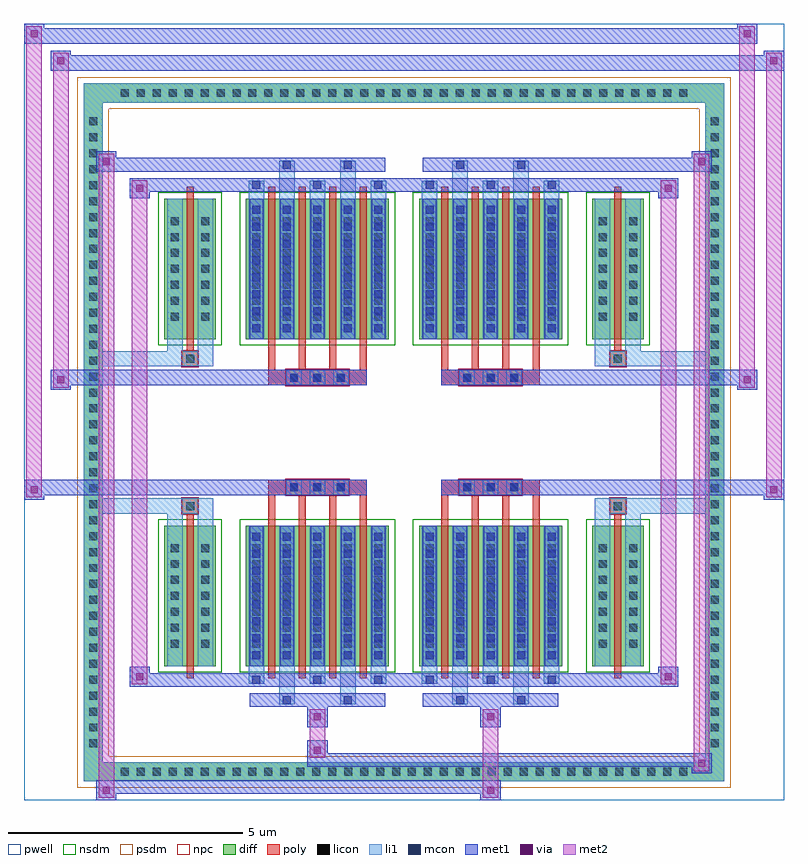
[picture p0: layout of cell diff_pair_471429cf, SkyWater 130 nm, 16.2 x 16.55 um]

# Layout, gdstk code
import gdstk
lib = gdstk.Library(unit=1e-6, precision=5e-09)
def R(c, l, rs):  # rectangles x0, y0, x1, y1
    for r in rs: c.add(gdstk.rectangle(r[:2], r[2:], *l))
def A(c, l, x, y, w, h, nx, ny, dx, dy):  # array of equal rectangles
    R(c, l, [(x+i*dx, y+j*dy, x+i*dx+w, y+j*dy+h) for i in range(nx) for j in range(ny)])
def P(c, l, *ps):  # polygons
    for p in ps: c.add(gdstk.Polygon(p, *l))
pwell = (64, 44)
diff = (65, 20)
poly = (66, 20)
licon = (66, 44)
li1 = (67, 20)
mcon = (67, 44)
met1 = (68, 20)
via = (68, 44)
met2 = (69, 20)
nsdm = (93, 44)
psdm = (94, 20)
npc = (95, 20)

diff_pair_471429cf = lib.new_cell('diff_pair_471429cf')
R(diff_pair_471429cf, pwell, [(-8.1,-7.84,8.1,8.71), (-5.42,-6.03,-0.01,-0.805), (0.01,-6.03,5.42,-0.805), (-5.42,0.805,-0.01,6.03), (0.01,0.805,5.42,6.03)])
A(diff_pair_471429cf, diff, -6.155, -7.44, 0.41, 0.41, 36, 2, 0.34, 14.47)
A(diff_pair_471429cf, diff, -6.83, -6.835, 0.41, 0.41, 1, 40, 0, 0.34)
A(diff_pair_471429cf, diff, 6.42, -6.835, 0.41, 0.41, 1, 40, 0, 0.34)
R(diff_pair_471429cf, diff, [(-6.155,-7.44,6.155,-7.03), (-6.83,-6.835,-6.42,6.835), (6.42,-6.835,6.83,6.835), (-5.11,-4.985,-4.01,-1.985), (-3.37,-4.985,-0.32,-1.985), (0.32,-4.985,3.37,-1.985), (4.01,-4.985,5.11,-1.985), (-5.11,1.985,-4.01,4.985), (-3.37,1.985,-0.32,4.985), (0.32,1.985,3.37,4.985), (4.01,1.985,5.11,4.985), (-6.155,7.03,6.155,7.44)])
P(diff_pair_471429cf, diff, [(6.83,7.44),(-6.83,7.44),(-6.83,-7.03),(-6.42,-7.03),(-6.42,7.03),(6.42,7.03),(6.42,-7.03),(-6.42,-7.03),(-6.83,-7.03),(-6.83,-7.44),(6.83,-7.44)])
A(diff_pair_471429cf, poly, -2.895, -5.235, 0.15, 3.5, 4, 2, 0.65, 6.97)
A(diff_pair_471429cf, poly, 0.795, -5.235, 0.15, 3.5, 4, 2, 0.65, 6.97)
A(diff_pair_471429cf, poly, -2.895, -1.735, 0.15, 0.4, 4, 2, 0.65, 3.07)
A(diff_pair_471429cf, poly, 0.795, -1.735, 0.15, 0.4, 4, 2, 0.65, 3.07)
A(diff_pair_471429cf, poly, -2.51, -1.335, 0.33, 0.33, 3, 2, 0.5, 2.34)
A(diff_pair_471429cf, poly, 1.18, -1.335, 0.33, 0.33, 3, 2, 0.5, 2.34)
R(diff_pair_471429cf, poly, [(-4.635,-5.235,-4.485,-1.735), (4.485,-5.235,4.635,-1.735), (-4.725,-1.735,-4.395,-1.405), (-4.725,-1.735,-4.395,-1.405), (4.395,-1.735,4.725,-1.405), (4.395,-1.735,4.725,-1.405), (-2.895,-1.335,-0.795,-1.005), (0.795,-1.335,2.895,-1.005), (-2.895,1.005,-0.795,1.335), (0.795,1.005,2.895,1.335), (-4.725,1.405,-4.395,1.735), (-4.725,1.405,-4.395,1.735), (4.395,1.405,4.725,1.735), (4.395,1.405,4.725,1.735), (-4.635,1.735,-4.485,5.235), (4.485,1.735,4.635,5.235)])
A(diff_pair_471429cf, licon, -6.035, -7.32, 0.17, 0.17, 36, 2, 0.34, 14.47)
A(diff_pair_471429cf, licon, -6.71, -6.715, 0.17, 0.17, 1, 40, 0, 0.34)
A(diff_pair_471429cf, licon, 6.54, -6.715, 0.17, 0.17, 1, 40, 0, 0.34)
A(diff_pair_471429cf, licon, -4.97, -4.59, 0.17, 0.17, 1, 7, 0, 0.34)
A(diff_pair_471429cf, licon, -4.32, -4.59, 0.17, 0.17, 1, 7, 0, 0.34)
A(diff_pair_471429cf, licon, -3.23, -4.59, 0.17, 0.17, 5, 7, 0.65, 0.34)
A(diff_pair_471429cf, licon, 0.46, -4.59, 0.17, 0.17, 5, 7, 0.65, 0.34)
A(diff_pair_471429cf, licon, 4.15, -4.59, 0.17, 0.17, 1, 7, 0, 0.34)
A(diff_pair_471429cf, licon, 4.8, -4.59, 0.17, 0.17, 1, 7, 0, 0.34)
A(diff_pair_471429cf, licon, -2.43, -1.255, 0.17, 0.17, 3, 2, 0.5, 2.34)
A(diff_pair_471429cf, licon, 1.26, -1.255, 0.17, 0.17, 3, 2, 0.5, 2.34)
A(diff_pair_471429cf, licon, -4.97, 2.38, 0.17, 0.17, 1, 7, 0, 0.34)
A(diff_pair_471429cf, licon, -4.32, 2.38, 0.17, 0.17, 1, 7, 0, 0.34)
A(diff_pair_471429cf, licon, -3.23, 2.38, 0.17, 0.17, 5, 7, 0.65, 0.34)
A(diff_pair_471429cf, licon, 0.46, 2.38, 0.17, 0.17, 5, 7, 0.65, 0.34)
A(diff_pair_471429cf, licon, 4.15, 2.38, 0.17, 0.17, 1, 7, 0, 0.34)
A(diff_pair_471429cf, licon, 4.8, 2.38, 0.17, 0.17, 1, 7, 0, 0.34)
R(diff_pair_471429cf, licon, [(-4.645,-1.655,-4.475,-1.485), (4.475,-1.655,4.645,-1.485), (-4.645,1.485,-4.475,1.655), (4.475,1.485,4.645,1.655)])
A(diff_pair_471429cf, li1, -6.115, -7.4, 0.33, 0.33, 36, 2, 0.34, 14.47)
A(diff_pair_471429cf, li1, -6.79, -6.795, 0.33, 0.33, 1, 40, 0, 0.34)
A(diff_pair_471429cf, li1, 6.46, -6.795, 0.33, 0.33, 1, 40, 0, 0.34)
A(diff_pair_471429cf, li1, -3.31, -5.36, 0.33, 0.375, 3, 2, 1.3, 10.345)
A(diff_pair_471429cf, li1, -3.23, -5.36, 0.17, 0.17, 3, 2, 1.3, 10.55)
A(diff_pair_471429cf, li1, 0.38, -5.36, 0.33, 0.375, 3, 2, 1.3, 10.345)
A(diff_pair_471429cf, li1, 0.46, -5.36, 0.17, 0.17, 3, 2, 1.3, 10.55)
A(diff_pair_471429cf, li1, -3.31, -4.985, 0.33, 3, 5, 2, 0.65, 6.97)
A(diff_pair_471429cf, li1, 0.38, -4.985, 0.33, 3, 5, 2, 0.65, 6.97)
A(diff_pair_471429cf, li1, -3.23, -4.83, 0.17, 0.17, 5, 8, 0.65, 0.36)
A(diff_pair_471429cf, li1, -3.23, -4.83, 0.17, 2.69, 5, 2, 0.65, 6.97)
A(diff_pair_471429cf, li1, 0.46, -4.83, 0.17, 0.17, 5, 8, 0.65, 0.36)
A(diff_pair_471429cf, li1, 0.46, -4.83, 0.17, 2.69, 5, 2, 0.65, 6.97)
A(diff_pair_471429cf, li1, -5.05, -4.67, 0.33, 0.33, 1, 7, 0, 0.34)
A(diff_pair_471429cf, li1, -4.4, -4.67, 0.33, 0.33, 1, 7, 0, 0.34)
A(diff_pair_471429cf, li1, -3.31, -4.67, 0.33, 0.33, 5, 7, 0.65, 0.34)
A(diff_pair_471429cf, li1, 0.38, -4.67, 0.33, 0.33, 5, 7, 0.65, 0.34)
A(diff_pair_471429cf, li1, 4.07, -4.67, 0.33, 0.33, 1, 7, 0, 0.34)
A(diff_pair_471429cf, li1, 4.72, -4.67, 0.33, 0.33, 1, 7, 0, 0.34)
A(diff_pair_471429cf, li1, -2.51, -1.335, 0.33, 0.33, 3, 2, 0.5, 2.34)
A(diff_pair_471429cf, li1, 1.18, -1.335, 0.33, 0.33, 3, 2, 0.5, 2.34)
A(diff_pair_471429cf, li1, -3.23, 2.14, 0.17, 0.17, 5, 8, 0.65, 0.36)
A(diff_pair_471429cf, li1, 0.46, 2.14, 0.17, 0.17, 5, 8, 0.65, 0.36)
A(diff_pair_471429cf, li1, -5.05, 2.3, 0.33, 0.33, 1, 7, 0, 0.34)
A(diff_pair_471429cf, li1, -4.4, 2.3, 0.33, 0.33, 1, 7, 0, 0.34)
A(diff_pair_471429cf, li1, -3.31, 2.3, 0.33, 0.33, 5, 7, 0.65, 0.34)
A(diff_pair_471429cf, li1, 0.38, 2.3, 0.33, 0.33, 5, 7, 0.65, 0.34)
A(diff_pair_471429cf, li1, 4.07, 2.3, 0.33, 0.33, 1, 7, 0, 0.34)
A(diff_pair_471429cf, li1, 4.72, 2.3, 0.33, 0.33, 1, 7, 0, 0.34)
R(diff_pair_471429cf, li1, [(-6.83,-7.44,-6.42,-7.03), (-6.83,-7.44,-6.42,-7.03), (-6.42,-7.44,6.42,-7.03), (6.42,-7.44,6.83,-7.03), (6.42,-7.44,6.83,-7.03), (-6.83,-7.03,-6.42,7.03), (6.42,-7.03,6.83,7.03), (-2.66,-5.79,-2.33,-4.985), (-2.58,-5.79,-2.41,-5.62), (-1.36,-5.79,-1.03,-4.985), (-1.28,-5.79,-1.11,-5.62), (1.03,-5.79,1.36,-4.985), (1.11,-5.79,1.28,-5.62), (2.33,-5.79,2.66,-4.985), (2.41,-5.79,2.58,-5.62), (-5.05,-4.985,-4.72,-1.985), (-4.4,-4.985,-4.07,-1.985), (4.07,-4.985,4.4,-1.985), (4.72,-4.985,5.05,-1.985), (-5.05,-1.985,-4.72,-1.405), (-4.4,-1.985,-4.07,-1.405), (4.07,-1.985,4.4,-1.405), (4.72,-1.985,5.05,-1.405), (-6.83,-1.735,-4.725,-1.405), (-5.05,-1.735,-4.725,-1.405), (-4.725,-1.735,-4.395,-1.405), (-4.395,-1.735,-4.07,-1.405), (4.07,-1.735,4.395,-1.405), (4.395,-1.735,4.725,-1.405), (4.395,-1.735,6.83,-1.405), (4.725,-1.735,5.05,-1.405), (-6.83,1.405,-4.725,1.735), (-5.05,1.405,-4.725,1.735), (-5.05,1.405,-4.72,1.985), (-4.725,1.405,-4.395,1.735), (-4.4,1.405,-4.07,1.985), (-4.395,1.405,-4.07,1.735), (4.07,1.405,4.395,1.735), (4.07,1.405,4.4,1.985), (4.395,1.405,4.725,1.735), (4.395,1.405,6.83,1.735), (4.72,1.405,5.05,1.985), (4.725,1.405,5.05,1.735), (-5.05,1.985,-4.72,4.985), (-4.4,1.985,-4.07,4.985), (4.07,1.985,4.4,4.985), (4.72,1.985,5.05,4.985), (-2.66,4.985,-2.33,5.79), (-1.36,4.985,-1.03,5.79), (1.03,4.985,1.36,5.79), (2.33,4.985,2.66,5.79), (-2.58,5.62,-2.41,5.79), (-1.28,5.62,-1.11,5.79), (1.11,5.62,1.28,5.79), (2.41,5.62,2.58,5.79), (-6.83,7.03,-6.42,7.44), (-6.83,7.03,-6.42,7.44), (-6.42,7.03,6.42,7.44), (6.42,7.03,6.83,7.44), (6.42,7.03,6.83,7.44)])
A(diff_pair_471429cf, mcon, -3.23, -5.36, 0.17, 0.17, 3, 2, 1.3, 10.55)
A(diff_pair_471429cf, mcon, 0.46, -5.36, 0.17, 0.17, 3, 2, 1.3, 10.55)
A(diff_pair_471429cf, mcon, -3.23, -4.83, 0.17, 0.17, 5, 8, 0.65, 0.36)
A(diff_pair_471429cf, mcon, 0.46, -4.83, 0.17, 0.17, 5, 8, 0.65, 0.36)
A(diff_pair_471429cf, mcon, -2.43, -1.255, 0.17, 0.17, 3, 2, 0.5, 2.34)
A(diff_pair_471429cf, mcon, 1.26, -1.255, 0.17, 0.17, 3, 2, 0.5, 2.34)
A(diff_pair_471429cf, mcon, -3.23, 2.14, 0.17, 0.17, 5, 8, 0.65, 0.36)
A(diff_pair_471429cf, mcon, 0.46, 2.14, 0.17, 0.17, 5, 8, 0.65, 0.36)
R(diff_pair_471429cf, mcon, [(-2.58,-5.79,-2.41,-5.62), (-1.28,-5.79,-1.11,-5.62), (1.11,-5.79,1.28,-5.62), (2.41,-5.79,2.58,-5.62), (-2.58,5.62,-2.41,5.79), (-1.28,5.62,-1.11,5.79), (1.11,5.62,1.28,5.79), (2.41,5.62,2.58,5.79)])
A(diff_pair_471429cf, met1, -3.29, -5.42, 0.29, 0.29, 3, 2, 1.3, 10.55)
A(diff_pair_471429cf, met1, 0.4, -5.42, 0.29, 0.29, 3, 2, 1.3, 10.55)
A(diff_pair_471429cf, met1, -3.29, -4.985, 0.29, 3, 5, 2, 0.65, 6.97)
A(diff_pair_471429cf, met1, 0.4, -4.985, 0.29, 3, 5, 2, 0.65, 6.97)
A(diff_pair_471429cf, met1, -3.29, -4.89, 0.29, 0.29, 5, 8, 0.65, 0.36)
A(diff_pair_471429cf, met1, 0.4, -4.89, 0.29, 0.29, 5, 8, 0.65, 0.36)
A(diff_pair_471429cf, met1, -2.49, -1.315, 0.29, 0.29, 3, 2, 0.5, 2.34)
A(diff_pair_471429cf, met1, 1.2, -1.315, 0.29, 0.29, 3, 2, 0.5, 2.34)
A(diff_pair_471429cf, met1, -3.29, 2.08, 0.29, 0.29, 5, 8, 0.65, 0.36)
A(diff_pair_471429cf, met1, 0.4, 2.08, 0.29, 0.29, 5, 8, 0.65, 0.36)
R(diff_pair_471429cf, met1, [(-6.56,-7.84,-6.13,-7.41), (1.63,-7.84,2.06,-7.41), (-6.56,-7.7,2.06,-7.41), (6.13,-7.27,6.56,-6.84), (-2.06,-7.13,6.56,-6.84), (-2.06,-6.99,-1.63,-6.56), (-2.06,-6.28,-1.63,-5.85), (1.63,-6.28,2.06,-5.85), (-3.29,-5.85,-0.4,-5.56), (-2.64,-5.85,-2.35,-5.56), (-1.34,-5.85,-1.05,-5.56), (0.4,-5.85,3.29,-5.56), (1.05,-5.85,1.34,-5.56), (2.35,-5.85,2.64,-5.56), (-5.85,-5.42,-5.42,-4.99), (-5.85,-5.42,-3.29,-5.13), (-3.29,-5.42,-0.4,-5.13), (-0.4,-5.42,0.4,-5.13), (0.4,-5.42,3.29,-5.13), (3.29,-5.42,5.85,-5.13), (5.42,-5.42,5.85,-4.99), (-8.1,-1.435,-7.67,-1.005), (7.67,-1.435,8.1,-1.005), (-8.1,-1.335,-0.795,-1.005), (-2.895,-1.335,-0.795,-1.005), (0.795,-1.335,2.895,-1.005), (0.795,-1.335,8.1,-1.005), (-7.53,0.905,-7.1,1.335), (7.1,0.905,7.53,1.335), (-7.53,1.005,-2.895,1.335), (-2.895,1.005,-0.795,1.335), (0.795,1.005,2.895,1.335), (2.895,1.005,7.53,1.335), (-5.85,4.99,-5.42,5.42), (5.42,4.99,5.85,5.42), (-5.85,5.13,-3.29,5.42), (-3.29,5.13,-0.4,5.42), (-0.4,5.13,0.4,5.42), (0.4,5.13,3.29,5.42), (3.29,5.13,5.85,5.42), (-6.56,5.56,-6.13,5.99), (-6.56,5.56,-3.29,5.85), (-3.29,5.56,-0.4,5.85), (-2.64,5.56,-2.35,5.85), (-1.34,5.56,-1.05,5.85), (0.4,5.56,3.29,5.85), (1.05,5.56,1.34,5.85), (2.35,5.56,2.64,5.85), (3.29,5.56,6.56,5.85), (6.13,5.56,6.56,5.99), (-7.53,7.71,-7.1,8.14), (-7.53,7.71,-5.42,8.04), (-5.42,7.71,5.42,8.04), (5.42,7.71,8.1,8.04), (7.67,7.71,8.1,8.14), (-8.1,8.28,-7.67,8.71), (-8.1,8.28,-5.42,8.61), (-5.42,8.28,5.42,8.61), (5.42,8.28,7.53,8.61), (7.1,8.28,7.53,8.71)])
R(diff_pair_471429cf, via, [(-6.42,-7.7,-6.27,-7.55), (1.77,-7.7,1.92,-7.55), (6.27,-7.13,6.42,-6.98), (-1.92,-6.85,-1.77,-6.7), (-1.92,-6.14,-1.77,-5.99), (1.77,-6.14,1.92,-5.99), (-5.71,-5.28,-5.56,-5.13), (5.56,-5.28,5.71,-5.13), (-7.96,-1.295,-7.81,-1.145), (7.81,-1.295,7.96,-1.145), (-7.39,1.045,-7.24,1.195), (7.24,1.045,7.39,1.195), (-5.71,5.13,-5.56,5.28), (5.56,5.13,5.71,5.28), (-6.42,5.7,-6.27,5.85), (6.27,5.7,6.42,5.85), (-7.39,7.85,-7.24,8), (7.81,7.85,7.96,8), (-7.96,8.42,-7.81,8.57), (7.24,8.42,7.39,8.57)])
R(diff_pair_471429cf, met2, [(-6.51,-7.79,-6.18,-7.46), (-6.51,-7.79,-6.18,5.94), (1.68,-7.79,2.01,-7.46), (1.68,-7.46,2.01,-6.23), (6.18,-7.22,6.51,-6.89), (6.18,-7.22,6.51,5.94), (-2.01,-6.94,-1.68,-6.61), (-2.01,-6.61,-1.68,-6.23), (-2.01,-6.23,-1.68,-5.9), (1.68,-6.23,2.01,-5.9), (-5.8,-5.37,-5.47,-5.04), (-5.8,-5.37,-5.47,5.37), (5.47,-5.37,5.8,-5.04), (5.47,-5.37,5.8,5.37), (-8.05,-1.385,-7.72,-1.055), (-8.05,-1.385,-7.72,8.66), (7.72,-1.385,8.05,-1.055), (7.72,-1.385,8.05,8.09), (-7.48,0.955,-7.15,1.285), (-7.48,0.955,-7.15,8.09), (7.15,0.955,7.48,1.285), (7.15,0.955,7.48,8.66), (-5.8,5.04,-5.47,5.37), (5.47,5.04,5.8,5.37), (-6.51,5.61,-6.18,5.94), (6.18,5.61,6.51,5.94), (-7.48,7.76,-7.15,8.09), (7.72,7.76,8.05,8.09), (-8.05,8.33,-7.72,8.66), (7.15,8.33,7.48,8.66)])
P(diff_pair_471429cf, met2, [(8.05,-1.385),(8.05,-1.385),(8.05,-1.055),(8.05,-1.055)],
  [(8.05,7.76),(8.05,7.76),(8.05,8.09),(8.05,8.09)],
  [(-7.72,-1.385),(-7.72,-1.385),(-7.72,-1.055),(-7.72,-1.055)],
  [(-7.72,8.33),(-7.72,8.33),(-7.72,8.66),(-7.72,8.66)],
  [(7.48,0.955),(7.48,0.955),(7.48,1.285),(7.48,1.285)],
  [(7.48,8.33),(7.48,8.33),(7.48,8.66),(7.48,8.66)],
  [(-7.15,0.955),(-7.15,0.955),(-7.15,1.285),(-7.15,1.285)],
  [(-7.15,7.76),(-7.15,7.76),(-7.15,8.09),(-7.15,8.09)],
  [(-6.18,-7.79),(-6.18,-7.79),(-6.18,-7.46),(-6.18,-7.46)],
  [(-6.18,5.61),(-6.18,5.61),(-6.18,5.94),(-6.18,5.94)],
  [(6.51,-7.22),(6.51,-7.22),(6.51,-6.89),(6.51,-6.89)],
  [(6.51,5.61),(6.51,5.61),(6.51,5.94),(6.51,5.94)],
  [(-5.47,-5.37),(-5.47,-5.37),(-5.47,-5.04),(-5.47,-5.04)],
  [(-5.47,5.04),(-5.47,5.04),(-5.47,5.37),(-5.47,5.37)],
  [(5.8,-5.37),(5.8,-5.37),(5.8,-5.04),(5.8,-5.04)],
  [(5.8,5.04),(5.8,5.04),(5.8,5.37),(5.8,5.37)])
R(diff_pair_471429cf, nsdm, [(-5.24,-5.115,-3.88,-1.855), (-3.5,-5.115,-0.19,-1.855), (0.19,-5.115,3.5,-1.855), (3.88,-5.115,5.24,-1.855), (-5.24,1.855,-3.88,5.115), (-3.5,1.855,-0.19,5.115), (0.19,1.855,3.5,5.115), (3.88,1.855,5.24,5.115)])
P(diff_pair_471429cf, psdm, [(6.96,7.57),(-6.96,7.57),(-6.96,-6.9),(-6.29,-6.9),(-6.29,6.9),(6.29,6.9),(6.29,-6.9),(-6.29,-6.9),(-6.96,-6.9),(-6.96,-7.57),(6.96,-7.57)])
A(diff_pair_471429cf, npc, -2.53, -1.355, 0.37, 0.37, 3, 2, 0.5, 2.34)
A(diff_pair_471429cf, npc, 1.16, -1.355, 0.37, 0.37, 3, 2, 0.5, 2.34)
R(diff_pair_471429cf, npc, [(-4.745,-1.755,-4.375,-1.385), (4.375,-1.755,4.745,-1.385), (-2.53,-1.355,-1.66,-0.985), (-2.53,-1.355,-1.66,-0.985), (-2.03,-1.355,-1.16,-0.985), (-2.03,-1.355,-1.16,-0.985), (1.16,-1.355,2.03,-0.985), (1.16,-1.355,2.03,-0.985), (1.66,-1.355,2.53,-0.985), (1.66,-1.355,2.53,-0.985), (-2.53,0.985,-1.66,1.355), (-2.53,0.985,-1.66,1.355), (-2.03,0.985,-1.16,1.355), (-2.03,0.985,-1.16,1.355), (1.16,0.985,2.03,1.355), (1.16,0.985,2.03,1.355), (1.66,0.985,2.53,1.355), (1.66,0.985,2.53,1.355), (-4.745,1.385,-4.375,1.755), (4.375,1.385,4.745,1.755)])

lib.write_gds('diff_pair_471429cf.gds')
